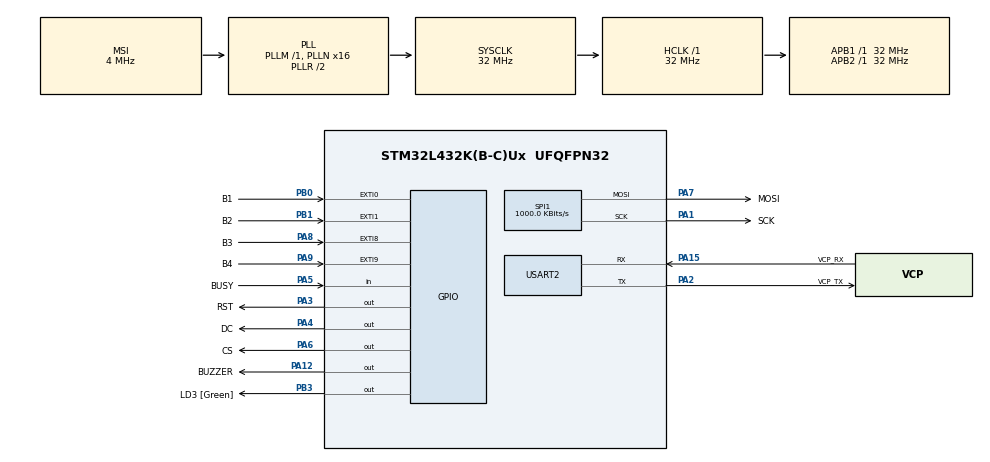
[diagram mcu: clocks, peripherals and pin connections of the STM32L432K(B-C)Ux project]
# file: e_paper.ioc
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Mcu.Family=STM32L4
Mcu.Name=STM32L432K(B-C)Ux
Mcu.Package=UFQFPN32
NVIC.EXTI0_IRQn=true\:0\:0\:false\:false\:true\:true\:true\:true
NVIC.EXTI1_IRQn=true\:0\:0\:false\:false\:true\:true\:true\:true
NVIC.EXTI9_5_IRQn=true\:0\:0\:false\:false\:true\:true\:true\:true
NVIC.PriorityGroup=NVIC_PRIORITYGROUP_4
NVIC.RTC_WKUP_IRQn=true\:0\:0\:false\:false\:true\:true\:true\:true
NVIC.TIM1_UP_TIM16_IRQn=true\:0\:0\:false\:false\:true\:true\:true\:true
NVIC.TIM6_DAC_IRQn=true\:0\:0\:false\:false\:true\:true\:true\:true
PA0.GPIO_Label=MCO [High speed clock in]
PA0.Signal=RCC_CK_IN
PA1.GPIO_Label=SCK
PA1.Mode=TX_Only_Simplex_Unidirect_Master
PA1.Signal=SPI1_SCK
PA12.GPIO_Label=BUZZER
PA12.Signal=GPIO_Output
PA13\ (JTMS-SWDIO).GPIO_Label=SWDIO
PA13\ (JTMS-SWDIO).Mode=Serial_Wire
PA13\ (JTMS-SWDIO).Signal=SYS_JTMS-SWDIO
PA14\ (JTCK-SWCLK).GPIO_Label=SWCLK
PA14\ (JTCK-SWCLK).Mode=Serial_Wire
PA14\ (JTCK-SWCLK).Signal=SYS_JTCK-SWCLK
PA15\ (JTDI).GPIO_Label=VCP_RX
PA15\ (JTDI).Mode=Asynchronous
PA15\ (JTDI).Signal=USART2_RX
PA2.GPIO_Label=VCP_TX
PA2.Mode=Asynchronous
PA2.Signal=USART2_TX
PA3.GPIO_Label=RST
PA3.Signal=GPIO_Output
PA4.GPIO_Label=DC
PA4.Signal=GPIO_Output
PA5.GPIO_Label=BUSY
PA5.GPIO_PuPd=GPIO_PULLDOWN
PA5.Signal=GPIO_Input
PA6.GPIO_Label=CS
PA6.Signal=GPIO_Output
PA7.GPIO_Label=MOSI
PA7.Mode=TX_Only_Simplex_Unidirect_Master
PA7.Signal=SPI1_MOSI
PA8.GPIO_Label=B3
PA8.GPIO_PuPd=GPIO_PULLDOWN
PA8.Signal=GPXTI8
PA9.GPIO_Label=B4
PA9.GPIO_PuPd=GPIO_PULLDOWN
PA9.Signal=GPXTI9
PB0.GPIO_Label=B1
PB0.GPIO_ModeDefaultEXTI=GPIO_MODE_IT_RISING
PB0.GPIO_PuPd=GPIO_PULLDOWN
PB0.Signal=GPXTI0
PB1.GPIO_Label=B2
PB1.GPIO_ModeDefaultEXTI=GPIO_MODE_IT_RISING
PB1.GPIO_PuPd=GPIO_PULLDOWN
PB1.Signal=GPXTI1
PB3\ (JTDO-TRACESWO).GPIO_Label=LD3 [Green]
PB3\ (JTDO-TRACESWO).Signal=GPIO_Output
PC14-OSC32_IN\ (PC14).Mode=LSE-External-Oscillator
PC14-OSC32_IN\ (PC14).Signal=RCC_OSC32_IN
PC15-OSC32_OUT\ (PC15).Mode=LSE-External-Oscillator
PC15-OSC32_OUT\ (PC15).Signal=RCC_OSC32_OUT
ProjectManager.HeapSize=0x200
ProjectManager.StackSize=0x400
ProjectManager.TargetToolchain=STM32CubeIDE
RCC.AHBFreq_Value=32000000
RCC.APB1Freq_Value=32000000
RCC.APB1TimFreq_Value=32000000
RCC.APB2Freq_Value=32000000
RCC.APB2TimFreq_Value=32000000
RCC.CortexFreq_Value=32000000
RCC.HCLKFreq_Value=32000000
RCC.HSE_VALUE=8000000
RCC.HSI16_VALUE=16000000
RCC.HSI48_VALUE=48000000
RCC.HSI_VALUE=16000000
RCC.MSI_VALUE=4000000
RCC.PLLMUL=RCC_PLLMUL_4
RCC.PLLN=16
RCC.RTCClockSelection=RCC_RTCCLKSOURCE_LSE
RCC.SYSCLKFreq_VALUE=32000000
RCC.SYSCLKSource=RCC_SYSCLKSOURCE_PLLCLK
RCC.VCOOutputFreq_Value=64000000
RTC.WakeUpClock=RTC_WAKEUPCLOCK_CK_SPRE_16BITS
SPI1.BaudRatePrescaler=SPI_BAUDRATEPRESCALER_32
SPI1.CalculateBaudRate=1000.0 KBits/s
SPI1.DataSize=SPI_DATASIZE_8BIT
SPI1.Direction=SPI_DIRECTION_2LINES
SPI1.Mode=SPI_MODE_MASTER
SPI1.NSSPMode=SPI_NSS_PULSE_DISABLE
SPI1.VirtualType=VM_MASTER
TIM16.Channel=TIM_CHANNEL_1
TIM16.Pulse=50000
TIM6.Period=15624
TIM6.Prescaler=2048
USART2.VirtualMode-Asynchronous=VM_ASYNC
VP_RTC_VS_RTC_Activate.Mode=RTC_Enabled
VP_RTC_VS_RTC_WakeUp_intern.Mode=WakeUp
VP_TIM16_VS_ClockSourceINT.Mode=Enable_Timer
VP_TIM16_VS_no_output1.Mode=PWM Generation1 No Output
VP_TIM6_VS_ClockSourceINT.Mode=Enable_Timer
board=NUCLEO-L432KC

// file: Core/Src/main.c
/* USER CODE BEGIN Header */
/**
  ******************************************************************************
  * @file           : main.c
  * @brief          : Main program body
  ******************************************************************************
  * @attention
  *
  * Copyright (c) 2026 STMicroelectronics.
  * All rights reserved.
  *
  * This software is licensed under terms that can be found in the LICENSE file
  * in the root directory of this software component.
  * If no LICENSE file comes with this software, it is provided AS-IS.
  *
  ******************************************************************************
  */
/* USER CODE END Header */
#include "main.h"

/* USER CODE BEGIN Includes */
#include "EPD_Test.h"
#include "EPD_1in54_V2.h"
/* USER CODE END Includes */

RTC_HandleTypeDef hrtc;

SPI_HandleTypeDef hspi1;

TIM_HandleTypeDef htim6;
TIM_HandleTypeDef htim16;

UART_HandleTypeDef huart2;

/* USER CODE BEGIN PV */
volatile int timerRunning;

// font constants
UBYTE BlackImage[5000];
sFONT timeFont;
sFONT smallFont;
int timeWidth;
int timeHeight;
int smallWidth;
int smallHeight;

// button constants for de-bouncing
volatile uint32_t currentMS;
volatile uint32_t PrevB1Press;
volatile uint32_t PrevB2Press;
volatile uint32_t PrevB3Press;
volatile uint32_t PrevB4Press;

volatile int refreshFlag;

// adjust mode params
volatile int adjMode;
volatile int adjPos;

// RTC time and date
RTC_TimeTypeDef sTime;
RTC_DateTypeDef sDate;

// watch time and date
volatile int hour;
volatile int minute;
volatile int weekDay;
volatile int day;
volatile int month;
volatile int year;

// alarm params
volatile int alarmHour;
volatile int alarmMinute;
volatile int alarmToggle;
volatile int alarmPlay;
volatile int alarmStopped;
/* USER CODE END PV */

void SystemClock_Config(void);
static void MX_GPIO_Init(void);
static void MX_SPI1_Init(void);
static void MX_USART2_UART_Init(void);
static void MX_TIM6_Init(void);
static void MX_TIM16_Init(void);
static void MX_RTC_Init(void);

/* USER CODE BEGIN 0 */

/**
 * Get the total amount of milliseconds that have passed from the RTC
 * @return time in milliseconds
 */
uint32_t RTC_GetTotalMS(void) {
    RTC_TimeTypeDef t;
    RTC_DateTypeDef d;
    HAL_RTC_GetTime(&hrtc, &t, RTC_FORMAT_BIN);
    HAL_RTC_GetDate(&hrtc, &d, RTC_FORMAT_BIN);

    // calculate total milliseconds
    uint32_t ms = (255 - t.SubSeconds) / 256 * 1000;
    return (uint32_t)t.Hours * 3600000
         + (uint32_t)t.Minutes * 60000
         + (uint32_t)t.Seconds * 1000
    	 + ms;
}

/**
 * Timer interrupt handler
 * @param timer that elapsed
 */
void HAL_TIM_PeriodElapsedCallback(TIM_HandleTypeDef *htim){
	if (htim == &htim6) {
		// de-bounce
		if (HAL_GPIO_ReadPin(GPIOA, B3_Pin) == GPIO_PIN_SET && (RTC_GetTotalMS() - PrevB3Press) >= 1000) {
			// toggle adjust mode
			adjMode = adjMode ^ 1;
			adjPos = 0;

			// refresh
			refreshFlag = 1;
			HAL_TIM_Base_Stop_IT(htim);
		}
		timerRunning = 0;
	} else if (htim == &htim16) {
		// play alarm
		HAL_GPIO_TogglePin(GPIOA, BUZZER_Pin);
	}

}

/**
 * RTC wake-up handler
 * @param RTC that woke up
 */
void HAL_RTCEx_WakeUpTimerEventCallback(RTC_HandleTypeDef *hrtc) {
	// refresh
	refreshFlag = 1;
}

/**
 * Get the max day given the current month
 * @return the number of the last day in the current month
 */
int maxDay() {
	// September, April, June, November
	if (month == 9 || month == 4 || month == 6 || month == 11) {
		return 30;
	} else if (month == 2) { // February
		// leap year
		if (year % 4 == 0 && (year % 100 != 0 || (year % 100 == 0 && year % 400 == 0))) {
			return 29;
		}

		return 28;
	} else {
		return 31;
	}
}

/**
 * Hardware interrupt handler
 * @param The GPIO pin that the interrupt occurred on
 */
void HAL_GPIO_EXTI_Callback(uint16_t GPIO_Pin) {
	// resume high speed clock
	SystemClock_Config();
	HAL_ResumeTick();

	if (alarmPlay) {
		// stop alarm
		HAL_TIM_Base_Stop_IT(&htim16);
		alarmPlay = 0;
		alarmStopped = 1;
		timerRunning = 0;
	}

	// get total milliseconds that have passed for button de-bouncing
	currentMS = RTC_GetTotalMS();

	if (GPIO_Pin == B4_Pin) {
		// de-bounce
		if (!adjMode && (currentMS - PrevB4Press) >= 1000 && HAL_GPIO_ReadPin(GPIOA, B4_Pin) == GPIO_PIN_SET) {
			PrevB4Press = currentMS;

			// toggle alarm
			alarmToggle ^= 1;

			// refresh
			refreshFlag = 1;
		}
	}

	if (GPIO_Pin == B3_Pin) {
		// de-bounce
		if ((currentMS - PrevB3Press) >= 1000 && HAL_GPIO_ReadPin(GPIOA, B3_Pin) == GPIO_PIN_SET) {
			PrevB3Press = currentMS;

			// start adjust mode timer
			timerRunning = 1;
			HAL_TIM_Base_Stop_IT(&htim6);
			__HAL_TIM_SET_COUNTER(&htim6, 0);
			HAL_TIM_Base_Start_IT(&htim6);
		}
	}

	if (GPIO_Pin == B2_Pin) {
		// de-bounce
		if ((currentMS - PrevB2Press) >= 10000 && HAL_GPIO_ReadPin(GPIOB, B2_Pin) == GPIO_PIN_SET && adjMode) {
			PrevB2Press = currentMS;

			// adjust watch
			switch (adjPos) {
			case 0:
				hour = hour + 1;

				if (hour >= 24) {
					hour = 0;
				}

				sTime.Hours = hour;
				HAL_RTC_SetTime(&hrtc, &sTime, RTC_FORMAT_BIN);
				break;
			case 1:
				minute = minute + 1;

				if (minute >= 60) {
					minute = 0;
				}

				sTime.Minutes = minute;
				HAL_RTC_SetTime(&hrtc, &sTime, RTC_FORMAT_BIN);
				break;
			case 2:
				weekDay++;

				if (weekDay > 6) {
					weekDay = 0;
				}

				sDate.WeekDay = weekDay;
				HAL_RTC_SetDate(&hrtc, &sDate, RTC_FORMAT_BIN);
				break;
			case 3:
				month++;

				if (month > 12) {
					month = 1;
				}

				sDate.Month = month;
				HAL_RTC_SetDate(&hrtc, &sDate, RTC_FORMAT_BIN);
				break;
			case 4:
				day++;

				if (day > maxDay()) {
					day = 1;
				}

				sDate.Date = day;
				HAL_RTC_SetDate(&hrtc, &sDate, RTC_FORMAT_BIN);
				break;
			case 5:
				year++;

				if (year > 2099) {
					year = 2000;
				}

				sDate.Year = year;
				HAL_RTC_SetDate(&hrtc, &sDate, RTC_FORMAT_BIN);
				break;
			case 6:
				alarmToggle ^= 1;
				break;
			case 7:
				alarmHour++;

				if (alarmHour > 24) {
					alarmHour = 1;
				}
				break;
			case 8:
				alarmMinute++;

				if (alarmMinute >= 60) {
					alarmMinute = 0;
				}
				break;
			default:
			}

			refreshFlag = 1;
		}
	}

	if (GPIO_Pin == B1_Pin) {
		// de-bounce
		if ((currentMS - PrevB1Press) >= 1000 && HAL_GPIO_ReadPin(GPIOB, B1_Pin) == GPIO_PIN_SET) {
			PrevB1Press = currentMS;

			if (adjMode) {
				// change adjust mode position
				adjPos++;
				refreshFlag = 1;
				if (adjPos > 9) {
					adjPos = 0;
				}
			}
		}
	}
}

/**
 * Get string from numeric day of the week
 * @param day	the numeric representation of the day of the week
 * @return the string representation of the day of the week
 */
const char* dayString(uint8_t day) {
	switch(day) {
	case 0:
		return "MON";
	case 1:
		return "TUE";
	case 2:
		return "WED";
	case 3:
		return "THU";
	case 4:
		return "FRI";
	case 5:
		return "SAT";
	case 6:
		return "SUN";
	default:
		return "";
	}
}

/**
 * Refresh the display
 */
void refresh(void) {
	// display adjust mode position
	if (adjMode) {
	  switch(adjPos) {
	  case 0:
		  Paint_ClearWindows(smallWidth * 3, EPD_1IN54_V2_HEIGHT - smallHeight, smallWidth * 5, EPD_1IN54_V2_HEIGHT, WHITE);
		  Paint_DrawNum(smallWidth * 3, EPD_1IN54_V2_HEIGHT - smallHeight, alarmMinute / 10, &smallFont, WHITE, BLACK);
		  Paint_DrawNum(smallWidth * 4, EPD_1IN54_V2_HEIGHT - smallHeight, alarmMinute % 10, &smallFont, WHITE, BLACK);

		  Paint_DrawNum(100 - timeWidth * 2.5, 100 - timeHeight / 2, hour / 10, &timeFont, BLACK, WHITE);
		  Paint_DrawNum(100 - timeWidth * 1.5, 100 - timeHeight / 2, hour % 10, &timeFont, BLACK, WHITE);
		  break;
	  case 1:
		  Paint_ClearWindows(100 - timeWidth * 2.5, 100 - timeHeight / 2, 100 - timeWidth * 0.5, 100 + timeHeight / 2, WHITE);
		  Paint_DrawNum(100 - timeWidth * 2.5, 100 - timeHeight / 2, hour / 10, &timeFont, WHITE, BLACK);
		  Paint_DrawNum(100 - timeWidth * 1.5, 100 - timeHeight / 2, hour % 10, &timeFont, WHITE, BLACK);

		  Paint_DrawNum(100 + timeWidth / 2, 100 - timeHeight / 2, minute / 10, &timeFont, BLACK, WHITE);
		  Paint_DrawNum(100 + timeWidth * 1.5, 100 - timeHeight / 2, minute % 10, &timeFont, BLACK, WHITE);
		  break;
	  case 2:
		  Paint_ClearWindows(100 + timeWidth / 2, 100 - timeHeight / 2, 100 + timeWidth * 2.5, 100 + timeHeight / 2, WHITE);
		  Paint_DrawNum(100 + timeWidth / 2, 100 - timeHeight / 2, minute / 10, &timeFont, WHITE, BLACK);
		  Paint_DrawNum(100 + timeWidth * 1.5, 100 - timeHeight / 2, minute % 10, &timeFont, WHITE, BLACK);

		  Paint_DrawString_EN(0, 0, dayString(weekDay), &smallFont, WHITE, BLACK);
		  break;
	  case 3:
		  Paint_ClearWindows(0, 0, smallWidth*3, smallHeight, WHITE);
		  Paint_DrawString_EN(0, 0, dayString(weekDay), &smallFont, BLACK, WHITE);

		  Paint_DrawNum(0, smallHeight, month / 10, &smallFont, BLACK, WHITE);
		  Paint_DrawNum(smallWidth, smallHeight, month % 10, &smallFont, BLACK, WHITE);
		  break;
	  case 4:
		  Paint_ClearWindows(0, smallHeight, smallWidth*2, smallHeight*2, WHITE);
		  Paint_DrawNum(0, smallHeight, month / 10, &smallFont, WHITE, BLACK);
		  Paint_DrawNum(smallWidth, smallHeight, month % 10, &smallFont, WHITE, BLACK);

		  Paint_DrawNum(smallWidth * 3, smallHeight, day / 10, &smallFont, BLACK, WHITE);
		  Paint_DrawNum(smallWidth * 4, smallHeight, day % 10, &smallFont, BLACK, WHITE);
		  break;
	  case 5:
		  Paint_ClearWindows(smallWidth*3, smallHeight, smallWidth*5, smallHeight*2, WHITE);
		  Paint_DrawNum(smallWidth * 3, smallHeight, day / 10, &smallFont, WHITE, BLACK);
		  Paint_DrawNum(smallWidth * 4, smallHeight, day % 10, &smallFont, WHITE, BLACK);

		  Paint_DrawNum(smallWidth * 6, smallHeight, year, &smallFont, BLACK, WHITE);
		  break;
	  case 6:
		  Paint_ClearWindows(smallWidth*6, smallHeight, smallWidth*10, smallHeight*2, WHITE);
		  Paint_DrawNum(smallWidth * 6, smallHeight, year, &smallFont, WHITE, BLACK);

		  Paint_DrawString_EN(smallWidth * 6, EPD_1IN54_V2_HEIGHT - smallHeight * 2, (alarmToggle == 0) ? "OFF" : "ON ", &smallFont, WHITE, BLACK);
		  break;
	  case 7:
		  Paint_ClearWindows(smallWidth*6, EPD_1IN54_V2_HEIGHT - smallHeight * 2, smallWidth*9, EPD_1IN54_V2_HEIGHT - smallHeight, WHITE);
		  Paint_DrawString_EN(smallWidth * 6, EPD_1IN54_V2_HEIGHT - smallHeight * 2, (alarmToggle == 0) ? "OFF" : "ON ", &smallFont, BLACK, WHITE);

		  Paint_DrawNum(0, EPD_1IN54_V2_HEIGHT - smallHeight, alarmHour / 10, &smallFont, BLACK, WHITE);
		  Paint_DrawNum(smallWidth, EPD_1IN54_V2_HEIGHT - smallHeight, alarmHour % 10, &smallFont, BLACK, WHITE);
		  break;
	  case 8:
		  Paint_ClearWindows(0, EPD_1IN54_V2_HEIGHT - smallHeight, smallWidth*2, EPD_1IN54_V2_HEIGHT, WHITE);
		  Paint_DrawNum(0, EPD_1IN54_V2_HEIGHT - smallHeight, alarmHour / 10, &smallFont, WHITE, BLACK);
		  Paint_DrawNum(smallWidth, EPD_1IN54_V2_HEIGHT - smallHeight, alarmHour % 10, &smallFont, WHITE, BLACK);

		  Paint_DrawNum(smallWidth * 3, EPD_1IN54_V2_HEIGHT - smallHeight, alarmMinute / 10, &smallFont, BLACK, WHITE);
		  Paint_DrawNum(smallWidth * 4, EPD_1IN54_V2_HEIGHT - smallHeight, alarmMinute % 10, &smallFont, BLACK, WHITE);
		  break;
	  default:
	  }
  } else {
	  // get and set time
	  HAL_RTC_GetTime(&hrtc, &sTime, RTC_FORMAT_BIN);
	  HAL_RTC_GetDate(&hrtc, &sDate, RTC_FORMAT_BIN);

	  hour = sTime.Hours;
	  minute = sTime.Minutes;
	  weekDay = sDate.WeekDay;
	  day = sDate.Date;
	  month = sDate.Month;
	  year = sDate.Year;

	  if (day > maxDay()) {
		  day = 1;
		  month++;

		  if (month > 12) {
			  month = 1;
			  year++;
		  }
	  }

	  if (alarmToggle && !alarmStopped && !alarmPlay
		&& hour == alarmHour && minute == alarmMinute) {
		  // play alarm
		  HAL_TIM_Base_Start_IT(&htim16);
		  alarmPlay = 1;
		  timerRunning = 1;
	  }

	  if (alarmStopped && hour == alarmHour && minute == alarmMinute + 1) {
		  // stop alarm
		  alarmStopped = 0;
	  }

	  // draw the watch face
	  Paint_ClearWindows(100 - timeWidth * 2.5, 100 - timeHeight / 2, 100 + timeWidth*2.5, 100 + timeHeight / 2, WHITE);
	  Paint_DrawNum(100 - timeWidth * 2.5, 100 - timeHeight / 2, hour / 10, &timeFont, WHITE, BLACK);
	  Paint_DrawNum(100 - timeWidth * 1.5, 100 - timeHeight / 2, hour % 10, &timeFont, WHITE, BLACK);
	  Paint_DrawChar(100 - timeWidth / 2, 100 - timeHeight / 2, ':', &timeFont, BLACK, WHITE);
	  Paint_DrawNum(100 + timeWidth / 2, 100 - timeHeight / 2, minute / 10, &timeFont, WHITE, BLACK);
	  Paint_DrawNum(100 + timeWidth * 1.5, 100 - timeHeight / 2, minute % 10, &timeFont, WHITE, BLACK);

	  Paint_ClearWindows(0, 0, smallWidth*10, smallHeight*2, WHITE);
	  Paint_DrawString_EN(0, 0, dayString(weekDay), &smallFont, BLACK, WHITE);
	  Paint_DrawNum(0, smallHeight, month / 10, &smallFont, WHITE, BLACK);
	  Paint_DrawNum(smallWidth, smallHeight, month % 10, &smallFont, WHITE, BLACK);
	  Paint_DrawChar(smallWidth * 2, smallHeight, '-', &smallFont, BLACK, WHITE);
	  Paint_DrawNum(smallWidth * 3, smallHeight, day / 10, &smallFont, WHITE, BLACK);
	  Paint_DrawNum(smallWidth * 4, smallHeight, day % 10, &smallFont, WHITE, BLACK);
	  Paint_DrawChar(smallWidth * 5, smallHeight, '-', &smallFont, BLACK, WHITE);
	  Paint_DrawNum(smallWidth * 6, smallHeight, year, &smallFont, WHITE, BLACK);

	  Paint_ClearWindows(0, EPD_1IN54_V2_HEIGHT - smallHeight * 2, smallWidth*9, EPD_1IN54_V2_HEIGHT, WHITE);
	  Paint_DrawString_EN(0, EPD_1IN54_V2_HEIGHT - smallHeight * 2, "ALARM", &smallFont, BLACK, WHITE);
	  Paint_DrawString_EN(smallWidth * 6, EPD_1IN54_V2_HEIGHT - smallHeight * 2, (alarmToggle == 0) ? "OFF" : "ON ", &smallFont, BLACK, WHITE);
	  Paint_DrawNum(0, EPD_1IN54_V2_HEIGHT - smallHeight, alarmHour / 10, &smallFont, WHITE, BLACK);
	  Paint_DrawNum(smallWidth, EPD_1IN54_V2_HEIGHT - smallHeight, alarmHour % 10, &smallFont, WHITE, BLACK);
	  Paint_DrawChar(smallWidth * 2, EPD_1IN54_V2_HEIGHT - smallHeight, ':', &smallFont, BLACK, WHITE);
	  Paint_DrawNum(smallWidth * 3, EPD_1IN54_V2_HEIGHT - smallHeight, alarmMinute / 10, &smallFont, WHITE, BLACK);
	  Paint_DrawNum(smallWidth * 4, EPD_1IN54_V2_HEIGHT - smallHeight, alarmMinute % 10, &smallFont, WHITE, BLACK);
  }

  EPD_1IN54_V2_DisplayPart(BlackImage);
  refreshFlag = 0;
}

/* USER CODE END 0 */

int main(void)
{

  /* MCU Configuration--------------------------------------------------------*/

  /* Reset of all peripherals, Initializes the Flash interface and the Systick. */
  HAL_Init();

  /* Configure the system clock */
  SystemClock_Config();

  /* Initialize all configured peripherals */
  MX_GPIO_Init();
  MX_SPI1_Init();
  MX_USART2_UART_Init();
  MX_TIM6_Init();
  MX_TIM16_Init();
  MX_RTC_Init();
  /* USER CODE BEGIN 2 */

  // init EPD
  DEV_Module_Init();
  EPD_1IN54_V2_Init();
  EPD_1IN54_V2_Clear();
  DEV_Delay_ms(500);

  // font constants
  timeFont = Consolas28;
  timeWidth = timeFont.Width;
  timeHeight = timeFont.Height;

  smallFont = Font24;
  smallWidth = smallFont.Width;
  smallHeight = smallFont.Height;

  // clear display
  Paint_NewImage(BlackImage, EPD_1IN54_V2_WIDTH, EPD_1IN54_V2_HEIGHT, 270, WHITE);

  EPD_1IN54_V2_Init_Partial();
  Paint_SelectImage(BlackImage);
  Paint_Clear(WHITE);

  // get and set time
  HAL_RTC_GetTime(&hrtc, &sTime, RTC_FORMAT_BIN);
  HAL_RTC_GetDate(&hrtc, &sDate, RTC_FORMAT_BIN);

  hour = sTime.Hours;
  minute = sTime.Minutes;
  weekDay = sDate.WeekDay;
  day = sDate.Date;
  month = sDate.Month;
  year = sDate.Year;

  alarmHour = 8;
  alarmMinute = 0;
  alarmToggle = 1;

  // draw the watch face
  Paint_DrawNum(100 - timeWidth * 2.5, 100 - timeHeight / 2, hour / 10, &timeFont, WHITE, BLACK);
  Paint_DrawNum(100 - timeWidth * 1.5, 100 - timeHeight / 2, hour % 10, &timeFont, WHITE, BLACK);
  Paint_DrawChar(100 - timeWidth / 2, 100 - timeHeight / 2, ':', &timeFont, BLACK, WHITE);
  Paint_DrawNum(100 + timeWidth / 2, 100 - timeHeight / 2, minute / 10, &timeFont, WHITE, BLACK);
  Paint_DrawNum(100 + timeWidth * 1.5, 100 - timeHeight / 2, minute % 10, &timeFont, WHITE, BLACK);

  Paint_DrawString_EN(0, 0, dayString(weekDay), &smallFont, BLACK, WHITE);
  Paint_DrawNum(0, smallHeight, month / 10, &smallFont, WHITE, BLACK);
  Paint_DrawNum(smallWidth, smallHeight, month % 10, &smallFont, WHITE, BLACK);
  Paint_DrawChar(smallWidth * 2, smallHeight, '-', &smallFont, BLACK, WHITE);
  Paint_DrawNum(smallWidth * 3, smallHeight, day / 10, &smallFont, WHITE, BLACK);
  Paint_DrawNum(smallWidth * 4, smallHeight, day % 10, &smallFont, WHITE, BLACK);
  Paint_DrawChar(smallWidth * 5, smallHeight, '-', &smallFont, BLACK, WHITE);
  Paint_DrawNum(smallWidth * 6, smallHeight, year, &smallFont, WHITE, BLACK);

  Paint_DrawString_EN(0, EPD_1IN54_V2_HEIGHT - smallHeight * 2, "ALARM", &smallFont, BLACK, WHITE);
  Paint_DrawString_EN(smallWidth * 6, EPD_1IN54_V2_HEIGHT - smallHeight * 2, (alarmToggle == 0) ? "OFF" : "ON ", &smallFont, BLACK, WHITE);
  Paint_DrawNum(0, EPD_1IN54_V2_HEIGHT - smallHeight, alarmHour / 10, &smallFont, WHITE, BLACK);
  Paint_DrawNum(smallWidth, EPD_1IN54_V2_HEIGHT - smallHeight, alarmHour % 10, &smallFont, WHITE, BLACK);
  Paint_DrawChar(smallWidth * 2, EPD_1IN54_V2_HEIGHT - smallHeight, ':', &smallFont, BLACK, WHITE);
  Paint_DrawNum(smallWidth * 3, EPD_1IN54_V2_HEIGHT - smallHeight, alarmMinute / 10, &smallFont, WHITE, BLACK);
  Paint_DrawNum(smallWidth * 4, EPD_1IN54_V2_HEIGHT - smallHeight, alarmMinute % 10, &smallFont, WHITE, BLACK);

  EPD_1IN54_V2_DisplayPart(BlackImage);

  /* USER CODE END 2 */

  while (1)
  {

    /* USER CODE BEGIN 3 */
	  if (refreshFlag) {
		  // update display
		  refresh();
	  }

	  // check if a timer is running or user is adjusting time
	  if (!timerRunning && !adjMode) {
		  if (refreshFlag) {
			  // update display
			  refresh();
		  }

		  // enter STOP 2 mode to save power
		  HAL_SuspendTick();

		  HAL_RTCEx_SetWakeUpTimer_IT(&hrtc, 59, RTC_WAKEUPCLOCK_CK_SPRE_16BITS);
		  HAL_PWREx_EnterSTOP2Mode(PWR_STOPENTRY_WFI);
		  HAL_RTCEx_DeactivateWakeUpTimer(&hrtc);
		  SystemClock_Config();
		  HAL_ResumeTick();
	  }

  }
  /* USER CODE END 3 */
}

void SystemClock_Config(void)
{
  RCC_OscInitTypeDef RCC_OscInitStruct = {0};
  RCC_ClkInitTypeDef RCC_ClkInitStruct = {0};

  /** Configure the main internal regulator output voltage
  */
  if (HAL_PWREx_ControlVoltageScaling(PWR_REGULATOR_VOLTAGE_SCALE1) != HAL_OK)
  {
    Error_Handler();
  }

  /** Configure LSE Drive Capability
  */
  HAL_PWR_EnableBkUpAccess();
  __HAL_RCC_LSEDRIVE_CONFIG(RCC_LSEDRIVE_LOW);

  /** Initializes the RCC Oscillators according to the specified parameters
  * in the RCC_OscInitTypeDef structure.
  */
  RCC_OscInitStruct.OscillatorType = RCC_OSCILLATORTYPE_LSE|RCC_OSCILLATORTYPE_MSI;
  RCC_OscInitStruct.LSEState = RCC_LSE_ON;
  RCC_OscInitStruct.MSIState = RCC_MSI_ON;
  RCC_OscInitStruct.MSICalibrationValue = 0;
  RCC_OscInitStruct.MSIClockRange = RCC_MSIRANGE_6;
  RCC_OscInitStruct.PLL.PLLState = RCC_PLL_ON;
  RCC_OscInitStruct.PLL.PLLSource = RCC_PLLSOURCE_MSI;
  RCC_OscInitStruct.PLL.PLLM = 1;
  RCC_OscInitStruct.PLL.PLLN = 16;
  RCC_OscInitStruct.PLL.PLLP = RCC_PLLP_DIV7;
  RCC_OscInitStruct.PLL.PLLQ = RCC_PLLQ_DIV2;
  RCC_OscInitStruct.PLL.PLLR = RCC_PLLR_DIV2;
  if (HAL_RCC_OscConfig(&RCC_OscInitStruct) != HAL_OK)
  {
    Error_Handler();
  }

  /** Initializes the CPU, AHB and APB buses clocks
  */
  RCC_ClkInitStruct.ClockType = RCC_CLOCKTYPE_HCLK|RCC_CLOCKTYPE_SYSCLK
                              |RCC_CLOCKTYPE_PCLK1|RCC_CLOCKTYPE_PCLK2;
  RCC_ClkInitStruct.SYSCLKSource = RCC_SYSCLKSOURCE_PLLCLK;
  RCC_ClkInitStruct.AHBCLKDivider = RCC_SYSCLK_DIV1;
  RCC_ClkInitStruct.APB1CLKDivider = RCC_HCLK_DIV1;
  RCC_ClkInitStruct.APB2CLKDivider = RCC_HCLK_DIV1;

  if (HAL_RCC_ClockConfig(&RCC_ClkInitStruct, FLASH_LATENCY_1) != HAL_OK)
  {
    Error_Handler();
  }

  /** Enable MSI Auto calibration
  */
  HAL_RCCEx_EnableMSIPLLMode();
}

static void MX_RTC_Init(void)
{

  /** Initialize RTC Only
  */
  hrtc.Instance = RTC;
  hrtc.Init.HourFormat = RTC_HOURFORMAT_24;
  hrtc.Init.AsynchPrediv = 127;
  hrtc.Init.SynchPrediv = 255;
  hrtc.Init.OutPut = RTC_OUTPUT_DISABLE;
  hrtc.Init.OutPutRemap = RTC_OUTPUT_REMAP_NONE;
  hrtc.Init.OutPutPolarity = RTC_OUTPUT_POLARITY_HIGH;
  hrtc.Init.OutPutType = RTC_OUTPUT_TYPE_OPENDRAIN;
  if (HAL_RTC_Init(&hrtc) != HAL_OK)
  {
    Error_Handler();
  }

}

static void MX_SPI1_Init(void)
{

  /* SPI1 parameter configuration*/
  hspi1.Instance = SPI1;
  hspi1.Init.Mode = SPI_MODE_MASTER;
  hspi1.Init.Direction = SPI_DIRECTION_2LINES;
  hspi1.Init.DataSize = SPI_DATASIZE_8BIT;
  hspi1.Init.CLKPolarity = SPI_POLARITY_LOW;
  hspi1.Init.CLKPhase = SPI_PHASE_1EDGE;
  hspi1.Init.NSS = SPI_NSS_SOFT;
  hspi1.Init.BaudRatePrescaler = SPI_BAUDRATEPRESCALER_32;
  hspi1.Init.FirstBit = SPI_FIRSTBIT_MSB;
  hspi1.Init.TIMode = SPI_TIMODE_DISABLE;
  hspi1.Init.CRCCalculation = SPI_CRCCALCULATION_DISABLE;
  hspi1.Init.CRCPolynomial = 7;
  hspi1.Init.CRCLength = SPI_CRC_LENGTH_DATASIZE;
  hspi1.Init.NSSPMode = SPI_NSS_PULSE_DISABLE;
  if (HAL_SPI_Init(&hspi1) != HAL_OK)
  {
    Error_Handler();
  }

}

static void MX_TIM6_Init(void)
{

  TIM_MasterConfigTypeDef sMasterConfig = {0};

  htim6.Instance = TIM6;
  htim6.Init.Prescaler = 2048;
  htim6.Init.CounterMode = TIM_COUNTERMODE_UP;
  htim6.Init.Period = 15624;
  htim6.Init.AutoReloadPreload = TIM_AUTORELOAD_PRELOAD_DISABLE;
  if (HAL_TIM_Base_Init(&htim6) != HAL_OK)
  {
    Error_Handler();
  }
  sMasterConfig.MasterOutputTrigger = TIM_TRGO_RESET;
  sMasterConfig.MasterSlaveMode = TIM_MASTERSLAVEMODE_DISABLE;
  if (HAL_TIMEx_MasterConfigSynchronization(&htim6, &sMasterConfig) != HAL_OK)
  {
    Error_Handler();
  }

}

static void MX_TIM16_Init(void)
{

  TIM_OC_InitTypeDef sConfigOC = {0};
  TIM_BreakDeadTimeConfigTypeDef sBreakDeadTimeConfig = {0};

  htim16.Instance = TIM16;
  htim16.Init.Prescaler = 0;
  htim16.Init.CounterMode = TIM_COUNTERMODE_UP;
  htim16.Init.Period = 65535;
  htim16.Init.ClockDivision = TIM_CLOCKDIVISION_DIV1;
  htim16.Init.RepetitionCounter = 0;
  htim16.Init.AutoReloadPreload = TIM_AUTORELOAD_PRELOAD_DISABLE;
  if (HAL_TIM_Base_Init(&htim16) != HAL_OK)
  {
    Error_Handler();
  }
  if (HAL_TIM_PWM_Init(&htim16) != HAL_OK)
  {
    Error_Handler();
  }
  sConfigOC.OCMode = TIM_OCMODE_PWM1;
  sConfigOC.Pulse = 50000;
  sConfigOC.OCPolarity = TIM_OCPOLARITY_HIGH;
  sConfigOC.OCNPolarity = TIM_OCNPOLARITY_HIGH;
  sConfigOC.OCFastMode = TIM_OCFAST_DISABLE;
  sConfigOC.OCIdleState = TIM_OCIDLESTATE_RESET;
  sConfigOC.OCNIdleState = TIM_OCNIDLESTATE_RESET;
  if (HAL_TIM_PWM_ConfigChannel(&htim16, &sConfigOC, TIM_CHANNEL_1) != HAL_OK)
  {
    Error_Handler();
  }
  sBreakDeadTimeConfig.OffStateRunMode = TIM_OSSR_DISABLE;
  sBreakDeadTimeConfig.OffStateIDLEMode = TIM_OSSI_DISABLE;
  sBreakDeadTimeConfig.LockLevel = TIM_LOCKLEVEL_OFF;
  sBreakDeadTimeConfig.DeadTime = 0;
  sBreakDeadTimeConfig.BreakState = TIM_BREAK_DISABLE;
  sBreakDeadTimeConfig.BreakPolarity = TIM_BREAKPOLARITY_HIGH;
  sBreakDeadTimeConfig.AutomaticOutput = TIM_AUTOMATICOUTPUT_DISABLE;
  if (HAL_TIMEx_ConfigBreakDeadTime(&htim16, &sBreakDeadTimeConfig) != HAL_OK)
  {
    Error_Handler();
  }

}

static void MX_USART2_UART_Init(void)
{

  huart2.Instance = USART2;
  huart2.Init.BaudRate = 115200;
  huart2.Init.WordLength = UART_WORDLENGTH_8B;
  huart2.Init.StopBits = UART_STOPBITS_1;
  huart2.Init.Parity = UART_PARITY_NONE;
  huart2.Init.Mode = UART_MODE_TX_RX;
  huart2.Init.HwFlowCtl = UART_HWCONTROL_NONE;
  huart2.Init.OverSampling = UART_OVERSAMPLING_16;
  huart2.Init.OneBitSampling = UART_ONE_BIT_SAMPLE_DISABLE;
  huart2.AdvancedInit.AdvFeatureInit = UART_ADVFEATURE_NO_INIT;
  if (HAL_UART_Init(&huart2) != HAL_OK)
  {
    Error_Handler();
  }

}

static void MX_GPIO_Init(void)
{
  GPIO_InitTypeDef GPIO_InitStruct = {0};

  /* GPIO Ports Clock Enable */
  __HAL_RCC_GPIOC_CLK_ENABLE();
  __HAL_RCC_GPIOA_CLK_ENABLE();
  __HAL_RCC_GPIOB_CLK_ENABLE();

  /*Configure GPIO pin Output Level */
  HAL_GPIO_WritePin(GPIOA, RST_Pin|DC_Pin|CS_Pin|BUZZER_Pin, GPIO_PIN_RESET);

  /*Configure GPIO pin Output Level */
  HAL_GPIO_WritePin(LD3_GPIO_Port, LD3_Pin, GPIO_PIN_RESET);

  /*Configure GPIO pins : RST_Pin DC_Pin CS_Pin BUZZER_Pin */
  GPIO_InitStruct.Pin = RST_Pin|DC_Pin|CS_Pin|BUZZER_Pin;
  GPIO_InitStruct.Mode = GPIO_MODE_OUTPUT_PP;
  GPIO_InitStruct.Pull = GPIO_NOPULL;
  GPIO_InitStruct.Speed = GPIO_SPEED_FREQ_LOW;
  HAL_GPIO_Init(GPIOA, &GPIO_InitStruct);

  /*Configure GPIO pin : BUSY_Pin */
  GPIO_InitStruct.Pin = BUSY_Pin;
  GPIO_InitStruct.Mode = GPIO_MODE_INPUT;
  GPIO_InitStruct.Pull = GPIO_PULLDOWN;
  HAL_GPIO_Init(BUSY_GPIO_Port, &GPIO_InitStruct);

  /*Configure GPIO pins : B1_Pin B2_Pin */
  GPIO_InitStruct.Pin = B1_Pin|B2_Pin;
  GPIO_InitStruct.Mode = GPIO_MODE_IT_RISING;
  GPIO_InitStruct.Pull = GPIO_PULLDOWN;
  HAL_GPIO_Init(GPIOB, &GPIO_InitStruct);

  /*Configure GPIO pins : B3_Pin B4_Pin */
  GPIO_InitStruct.Pin = B3_Pin|B4_Pin;
  GPIO_InitStruct.Mode = GPIO_MODE_IT_RISING;
  GPIO_InitStruct.Pull = GPIO_PULLDOWN;
  HAL_GPIO_Init(GPIOA, &GPIO_InitStruct);

  /*Configure GPIO pin : LD3_Pin */
  GPIO_InitStruct.Pin = LD3_Pin;
  GPIO_InitStruct.Mode = GPIO_MODE_OUTPUT_PP;
  GPIO_InitStruct.Pull = GPIO_NOPULL;
  GPIO_InitStruct.Speed = GPIO_SPEED_FREQ_LOW;
  HAL_GPIO_Init(LD3_GPIO_Port, &GPIO_InitStruct);

  /* EXTI interrupt init*/
  HAL_NVIC_SetPriority(EXTI0_IRQn, 0, 0);
  HAL_NVIC_EnableIRQ(EXTI0_IRQn);

  HAL_NVIC_SetPriority(EXTI1_IRQn, 0, 0);
  HAL_NVIC_EnableIRQ(EXTI1_IRQn);

  HAL_NVIC_SetPriority(EXTI9_5_IRQn, 0, 0);
  HAL_NVIC_EnableIRQ(EXTI9_5_IRQn);

}

void Error_Handler(void)
{
  __disable_irq();
  while (1)
  {
  }
}
